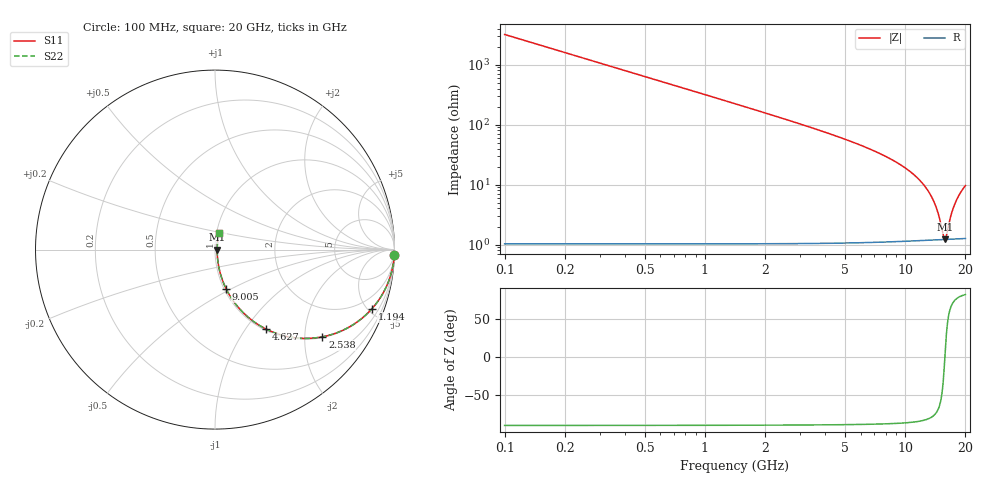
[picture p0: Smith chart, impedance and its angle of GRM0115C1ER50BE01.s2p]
!Murata Part Number: GRM0115C1ER50BE01
!These Parameters are Measured in Series Mode Connection
!Data Generated on Mar 30, 2021
!  o--ll--o
!Port1  Port2
!  o------o
!Operation Temp=25[degC], DC Bias Voltage=0[V]
!Freq. Start=100[MHz] Stop=20[GHz] 401[Steps]
# Hz S RI R 50
!Freq.(Hz) S11(Real) S11(Imag) S21(Real) S21(Imag) S12(Real) S12(Imag) S22(Real) S22(Imag)
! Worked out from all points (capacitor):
!   401 points, 100 MHz to 20 GHz, reference 50 ohm
!   read as one part in series: C = 500 fF near 199.5 MHz
!   lowest |Z| = 1.22 ohm at 15.77 GHz (marker M1)
!   series resonance near 15.79 GHz, so ESL is about 200 pH
!   S11 on the Smith chart (normalised r, x): 100 MHz: 1, -64; 1.194 GHz: 1.02, -5.30; 2.538 GHz: 1.02, -2.44; 4.627 GHz: 1.02, -1.26; 9.005 GHz: 1.02, -0.48; 20 GHz: 1.03, +0.19
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1e8  0.999 -0.0314  0.000996 0.0314  0.000996 0.0314  0.999 -0.0314
2.99e8  0.9912 -0.0931  0.00884 0.0931  0.00884 0.0931  0.9912 -0.0931
4.98e8  0.9758 -0.1528  0.0242 0.1528  0.0242 0.1528  0.9758 -0.1528
7.965e8  0.9403 -0.2357  0.0597 0.2357  0.0597 0.2357  0.9403 -0.2357
1.1945e9  0.8743 -0.3295  0.1257 0.3295  0.1257 0.3295  0.8743 -0.3295
1.7915e9  0.7534 -0.4281  0.2466 0.4281  0.2466 0.4281  0.7534 -0.4281
2.53775e9  0.598 -0.4861  0.402 0.4861  0.402 0.4861  0.598 -0.4861
3.43325e9  0.4388 -0.4904  0.5612 0.4904  0.5612 0.4904  0.4388 -0.4904
4.62725e9  0.2864 -0.4437  0.7136 0.4437  0.7136 0.4437  0.2864 -0.4437
6.7665e9  0.1352 -0.3281  0.8648 0.3281  0.8648 0.3281  0.1352 -0.3281
9.00525e9  0.063 -0.2205  0.937 0.2205  0.937 0.2205  0.063 -0.2205
1.005e10  0.0443 -0.1776  0.9557 0.1776  0.9557 0.1776  0.0443 -0.1776
1.19405e10  0.0239 -0.1098  0.9761 0.1098  0.9761 0.1098  0.0239 -0.1098
1.338325e10  0.016 -0.065  0.984 0.065  0.984 0.065  0.016 -0.065
1.447775e10  0.0131 -0.0341  0.9869 0.0341  0.9869 0.0341  0.0131 -0.0341
1.55225e10  0.0121 -0.00679  0.9879 0.00679  0.9879 0.00679  0.0121 -0.00679
1.577125e10  0.012 -0.000568  0.988 0.000568  0.988 0.000568  0.012 -0.000568
1.602e10  0.0121 0.00556  0.9879 -0.00556  0.9879 -0.00556  0.0121 0.00556
1.67165e10  0.0127 0.0222  0.9873 -0.0222  0.9873 -0.0222  0.0127 0.0222
1.73135e10  0.0135 0.0359  0.9865 -0.0359  0.9865 -0.0359  0.0135 0.0359
1.805975e10  0.0151 0.0524  0.9849 -0.0524  0.9849 -0.0524  0.0151 0.0524
2e10  0.0212 0.0923  0.9788 -0.0923  0.9788 -0.0923  0.0212 0.0923
